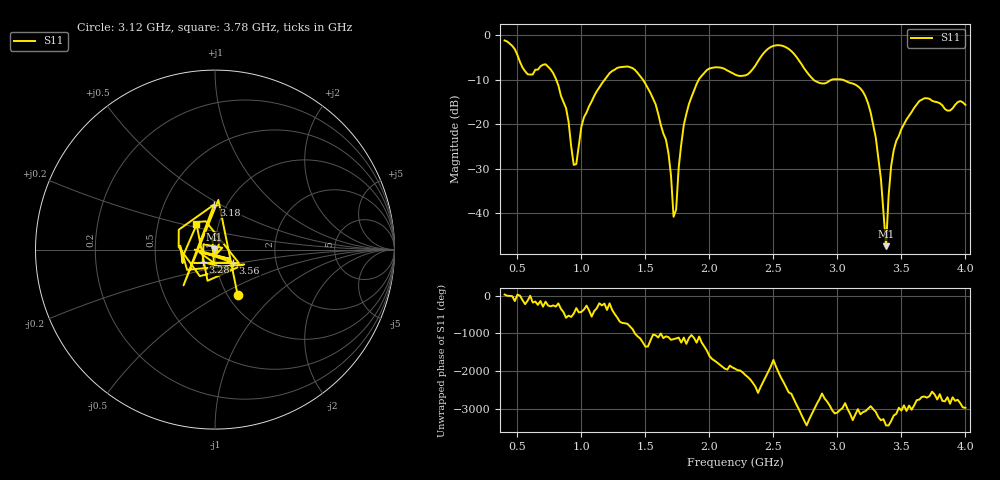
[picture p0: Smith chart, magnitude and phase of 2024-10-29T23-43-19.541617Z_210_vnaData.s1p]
!Created with skrf (http://scikit-rf.org).
# Hz S RI R 50.0
!freq ReS11 ImS11
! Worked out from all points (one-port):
!   181 points, 400 MHz to 4 GHz, reference 50 ohm
!   lowest |S11| = -47.3 dB at 3.38 GHz (marker M1), VSWR 1.01, Z = 49.6 + j0.173 ohm
!   |S11| at or under -10 dB: 802.5 MHz to 1.183 GHz (380.8 MHz wide, 38.4 % of centre); 1.48 GHz to 1.918 GHz (437.9 MHz wide, 25.8 % of centre); 3.032 GHz to end of sweep (the widest 3 of 4)
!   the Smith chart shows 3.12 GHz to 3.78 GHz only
!   S11 on the Smith chart (normalised r, x): 3.12 GHz: 1.11, -0.62; 3.18 GHz: 0.87, +0.47; 3.28 GHz: 0.86, -0.12; 3.56 GHz: 1.21, -0.18; 3.78 GHz: 0.78, +0.23
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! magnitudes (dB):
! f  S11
! 400 MHz  -1.3
! 580 MHz  -8.8
! 740 MHz  -7.1
! 860 MHz  -15.1
! 960 MHz  -28.9
! 1.02 GHz  -18.4
! 1.3 GHz  -7.3
! 1.58 GHz  -15.6
! 1.68 GHz  -26.5
! 1.72 GHz  -40.8
! 1.74 GHz  -39.1
! 1.76 GHz  -29.8
! 1.8 GHz  -20.2
! 1.92 GHz  -9.9
! 2.2 GHz  -8.9
! 2.66 GHz  -4.2
! 2.82 GHz  -10.2
! 3.1 GHz  -10.8
! 3.12 GHz  -10.9
! 3.18 GHz  -12.0
! 3.28 GHz  -20.2
! 3.34 GHz  -32.2
! 3.38 GHz  -47.3
! 3.4 GHz  -36.0
! 3.44 GHz  -25.9
! 3.56 GHz  -18.1
! 3.78 GHz  -15.1
! 4 GHz  -15.7
